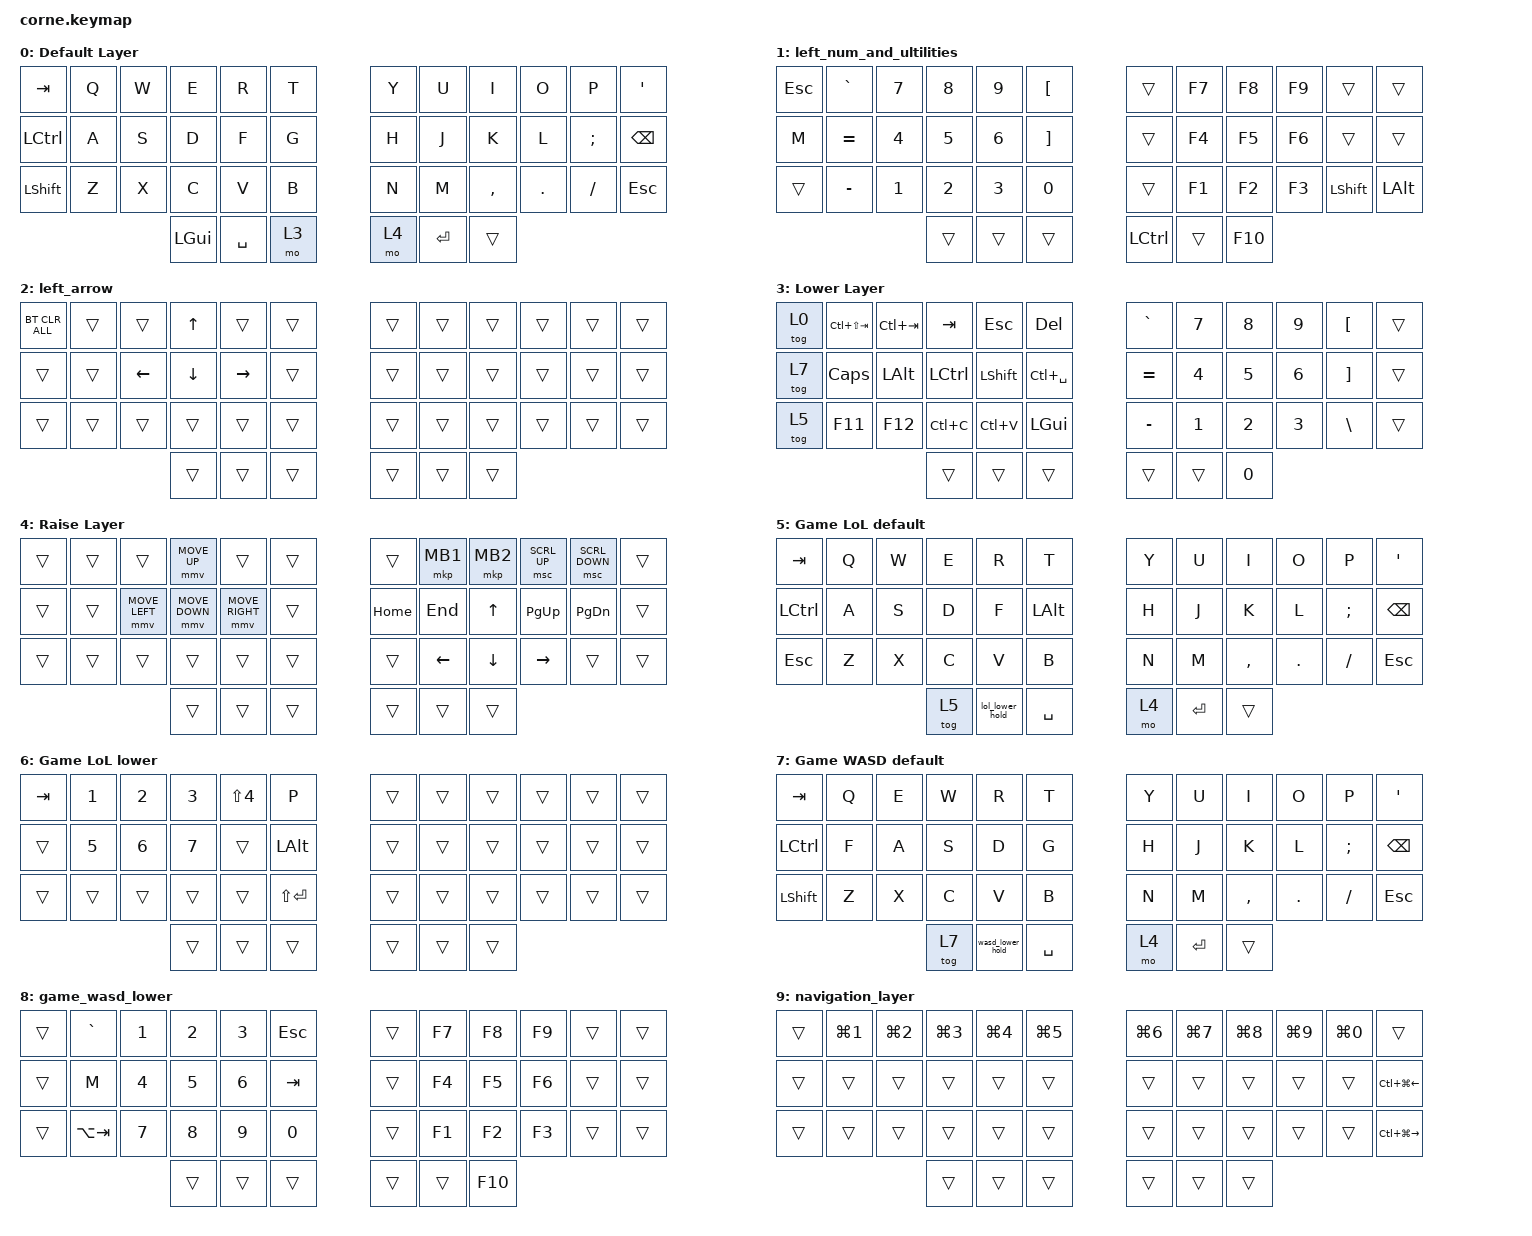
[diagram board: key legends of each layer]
/*
 * Copyright (c) 2020 The ZMK Contributors
 *
 * SPDX-License-Identifier: MIT
 */

#include <behaviors.dtsi>
#include <dt-bindings/zmk/bt.h>
#include <dt-bindings/zmk/keys.h>
#include <dt-bindings/zmk/pointing.h>

/ {
    combos {
        compatible = "zmk,combos";

        Lshift {
            bindings = <&kp LEFT_SHIFT>;
            key-positions = <16 38>;
            layers = <0 5 7>;
        };

        Rshift {
            bindings = <&kp RIGHT_SHIFT>;
            key-positions = <39 19>;
            layers = <0 6>;
        };

        Lctrl {
            bindings = <&kp LCTRL>;
            key-positions = <38 15>;
            layers = <0 5>;
        };

        Rctrl {
            bindings = <&kp RCTRL>;
            key-positions = <39 20>;
            layers = <0 6>;
        };

        Lalt {
            bindings = <&kp LEFT_ALT>;
            key-positions = <38 14>;
            layers = <0 7 5>;
        };

        Ralt {
            bindings = <&kp RIGHT_ALT>;
            key-positions = <39 21>;
            layers = <0 6>;
        };

        left_num_layer {
            bindings = <&mo 1>;
            key-positions = <38 24>;
            slow-release;
        };

        left_arrow_layer {
            bindings = <&mo 2>;
            key-positions = <38 12>;
            slow-release;
            layers = <0 7 5>;
        };
    };

    behaviors {
        td_kp1_f1: TD_1 {
            compatible = "zmk,behavior-tap-dance";
            label = "TD_1";
            #binding-cells = <0>;
            bindings = <&kp NUMBER_1>, <&kp F1>;
        };

        td_kp2_f2: TD_2 {
            compatible = "zmk,behavior-tap-dance";
            label = "TD_2";
            #binding-cells = <0>;
            bindings = <&kp NUMBER_2>, <&kp F2>;
        };

        td_kp3_f3: TD_3 {
            compatible = "zmk,behavior-tap-dance";
            label = "TD_3";
            #binding-cells = <0>;
            bindings = <&kp NUMBER_3>, <&kp F3>;
        };

        td_kp4_f4: TD_4 {
            compatible = "zmk,behavior-tap-dance";
            label = "TD_4";
            #binding-cells = <0>;
            bindings = <&kp NUMBER_4>, <&kp F4>;
        };

        td_kp5_f5: TD_5 {
            compatible = "zmk,behavior-tap-dance";
            label = "TD_5";
            #binding-cells = <0>;
            bindings = <&kp NUMBER_5>, <&kp F5>;
        };

        td_kp6_f6: TD_6 {
            compatible = "zmk,behavior-tap-dance";
            label = "TD_6";
            #binding-cells = <0>;
            bindings = <&kp NUMBER_6>, <&kp F6>;
        };

        td_kp7_f7: TD_7 {
            compatible = "zmk,behavior-tap-dance";
            label = "TD_7";
            #binding-cells = <0>;
            bindings = <&kp NUMBER_7>, <&kp F7>;
        };

        td_kp8_f8: TD_8 {
            compatible = "zmk,behavior-tap-dance";
            label = "TD_8";
            #binding-cells = <0>;
            bindings = <&kp NUMBER_8>, <&kp F8>;
        };

        td_kp9_f9: TD_9 {
            compatible = "zmk,behavior-tap-dance";
            label = "TD_9";
            #binding-cells = <0>;
            bindings = <&kp NUMBER_9>, <&kp F9>;
        };

        td_kp0_f0: TD_0 {
            compatible = "zmk,behavior-tap-dance";
            label = "TD_0";
            #binding-cells = <0>;
            bindings = <&kp NUMBER_0>, <&kp F10>;
        };
    };

    macros {
        lol_lower_hold: lol_lower_hold {
            compatible = "zmk,behavior-macro";
            #binding-cells = <0>;
            bindings =
                <&macro_tap>,
                <&tog 5>,
                <&macro_wait_time 10>,
                <&macro_press>,
                <&mo 6>,
                <&macro_pause_for_release>,
                <&macro_release>,
                <&mo 6>,
                <&macro_wait_time 10>,
                <&macro_tap>,
                <&tog 5>;

            label = "lol_lower_hold";
            wait-ms = <0>;
            tap-ms = <0>;
        };

        wasd_lower_hold: wasd_ {
            compatible = "zmk,behavior-macro";
            #binding-cells = <0>;
            bindings =
                <&macro_tap>,
                <&tog 7>,
                <&macro_wait_time 10>,
                <&macro_press>,
                <&mo 8>,
                <&macro_pause_for_release>,
                <&macro_release>,
                <&mo 8>,
                <&macro_wait_time 10>,
                <&macro_tap>,
                <&tog 7>;

            label = "WASD_";
            wait-ms = <0>;
            tap-ms = <0>;
        };
    };

    keymap {
        compatible = "zmk,keymap";

        default_layer {
            display-name = "Default Layer";

            // -----------------------------------------------------------------------------------------
            // |  TAB |  Q  |  W  |  E  |  R  |  T  |   |  Y  |  U   |  I  |  O  |  P  | BSPC |
            // | CTRL |  A  |  S  |  D  |  F  |  G  |   |  H  |  J   |  K  |  L  |  ;  |  '   |
            // | SHFT |  Z  |  X  |  C  |  V  |  B  |   |  N  |  M   |  ,  |  .  |  /  | ESC  |
            //                    | GUI | LWR | SPC |   | ENT | RSE  | ALT |

            bindings = <
&kp TAB    &kp Q  &kp W  &kp E     &kp R      &kp T    &kp Y  &kp U      &kp I      &kp O    &kp P     &kp SQT
&kp LCTRL  &kp A  &kp S  &kp D     &kp F      &kp G    &kp H  &kp J      &kp K      &kp L    &kp SEMI  &kp BACKSPACE
&kp LSHFT  &kp Z  &kp X  &kp C     &kp V      &kp B    &kp N  &kp M      &kp COMMA  &kp DOT  &kp FSLH  &kp ESC
                         &kp LGUI  &kp SPACE  &mo 3    &mo 4  &kp ENTER  &trans
            >;
        };

        left_num_and_ultilities {
            bindings = <
&kp ESCAPE  &kp GRAVE  &kp N7  &kp N8  &kp N9  &kp LBKT    &trans     &kp F7  &kp F8   &kp F9  &trans          &trans
&kp M       &kp EQUAL  &kp N4  &kp N5  &kp N6  &kp RBKT    &trans     &kp F4  &kp F5   &kp F6  &trans          &trans
&trans      &kp MINUS  &kp N1  &kp N2  &kp N3  &kp N0      &trans     &kp F1  &kp F2   &kp F3  &kp LEFT_SHIFT  &kp LEFT_ALT
                               &trans  &trans  &trans      &kp LCTRL  &trans  &kp F10
            >;
        };

        left_arrow {
            bindings = <
&bt BT_CLR_ALL  &trans  &trans    &kp UP    &trans     &trans    &trans  &trans  &trans  &trans  &trans  &trans
&trans          &trans  &kp LEFT  &kp DOWN  &kp RIGHT  &trans    &trans  &trans  &trans  &trans  &trans  &trans
&trans          &trans  &trans    &trans    &trans     &trans    &trans  &trans  &trans  &trans  &trans  &trans
                                  &trans    &trans     &trans    &trans  &trans  &trans
            >;
        };

        lower_layer {
            bindings = <
&tog 0  &kp LC(LS(TAB))  &kp LC(TAB)  &kp TAB    &kp ESC    &kp DEL          &kp GRAVE  &kp N7  &kp N8  &kp N9  &kp LBKT  &trans
&tog 7  &kp CAPS         &kp LALT     &kp LCTRL  &kp LSHFT  &kp LC(SPACE)    &kp EQUAL  &kp N4  &kp N5  &kp N6  &kp RBKT  &trans
&tog 5  &kp F11          &kp F12      &kp LC(C)  &kp LC(V)  &kp LGUI         &kp MINUS  &kp N1  &kp N2  &kp N3  &kp BSLH  &trans
                                      &trans     &trans     &trans           &trans     &trans  &kp N0
            >;

            label = "Lower Layer";
        };

        raise_layer {
            display-name = "Raise Layer";

            // -----------------------------------------------------------------------------------------
            // |  TAB |  !  |  @  |  #  |  $  |  %  |   |  ^  |  &  |  *  |  (  |  )  | BSPC |
            // | CTRL |     |     |     |     |     |   |  -  |  =  |  [  |  ]  |  \  |  `   |
            // | SHFT |     |     |     |     |     |   |  _  |  +  |  {  |  }  | "|" |  ~   |
            //                    | GUI |     | SPC |   | ENT |     | ALT |

            bindings = <
&trans  &trans  &trans          &mmv MOVE_UP    &trans           &trans    &trans    &mkp MB1  &mkp MB2  &msc SCRL_UP  &msc SCRL_DOWN  &trans
&trans  &trans  &mmv MOVE_LEFT  &mmv MOVE_DOWN  &mmv MOVE_RIGHT  &trans    &kp HOME  &kp END   &kp UP    &kp PG_UP     &kp PG_DN       &trans
&trans  &trans  &trans          &trans          &trans           &trans    &trans    &kp LEFT  &kp DOWN  &kp RIGHT     &trans          &trans
                                &trans          &trans           &trans    &trans    &trans    &trans
            >;
        };

        game_lol_default {
            display-name = "Game LoL default";
            bindings = <
&kp TAB     &kp Q  &kp W  &kp E   &kp R            &kp T           &kp Y  &kp U      &kp I      &kp O    &kp P     &kp SQT
&kp LCTRL   &kp A  &kp S  &kp D   &kp F            &kp LEFT_ALT    &kp H  &kp J      &kp K      &kp L    &kp SEMI  &kp BACKSPACE
&kp ESCAPE  &kp Z  &kp X  &kp C   &kp V            &kp B           &kp N  &kp M      &kp COMMA  &kp DOT  &kp FSLH  &kp ESC
                          &tog 5  &lol_lower_hold  &kp SPACE       &mo 4  &kp ENTER  &trans
            >;
        };

        game_lol_lower {
            display-name = "Game LoL lower";

            // -----------------------------------------------------------------------------------------
            // |  TAB |  1  |  2  |  3  |  4  |  5  |   |  6  |  7  |  8  |  9  |  0  | BSPC |
            // | BTCLR| BT1 | BT2 | BT3 | BT4 | BT5 |   | LFT | DWN |  UP | RGT |     |      |
            // | SHFT |     |     |     |     |     |   |     |     |     |     |     |      |
            //                    | GUI |     | SPC |   | ENT |     | ALT |

            bindings = <
&kp TAB  &kp N1  &kp N2  &kp N3  &kp LS(N4)  &kp P            &trans  &trans  &trans  &trans  &trans  &trans
&trans   &kp N5  &kp N6  &kp N7  &trans      &kp LEFT_ALT     &trans  &trans  &trans  &trans  &trans  &trans
&trans   &trans  &trans  &trans  &trans      &kp LS(ENTER)    &trans  &trans  &trans  &trans  &trans  &trans
                         &trans  &trans      &trans           &trans  &trans  &trans
            >;
        };

        game_wasd_default {
            display-name = "Game WASD default";
            bindings = <
&kp TAB         &kp Q  &kp E  &kp W   &kp R             &kp T        &kp Y  &kp U      &kp I      &kp O    &kp P     &kp SQT
&kp LCTRL       &kp F  &kp A  &kp S   &kp D             &kp G        &kp H  &kp J      &kp K      &kp L    &kp SEMI  &kp BACKSPACE
&kp LEFT_SHIFT  &kp Z  &kp X  &kp C   &kp V             &kp B        &kp N  &kp M      &kp COMMA  &kp DOT  &kp FSLH  &kp ESC
                              &tog 7  &wasd_lower_hold  &kp SPACE    &mo 4  &kp ENTER  &trans
            >;
        };

        game_wasd_lower {
            bindings = <
&trans  &kp GRAVE    &kp N1  &kp N2  &kp N3  &kp ESCAPE    &trans  &kp F7  &kp F8   &kp F9  &trans  &trans
&trans  &kp M        &kp N4  &kp N5  &kp N6  &kp TAB       &trans  &kp F4  &kp F5   &kp F6  &trans  &trans
&trans  &kp LA(TAB)  &kp N7  &kp N8  &kp N9  &kp N0        &trans  &kp F1  &kp F2   &kp F3  &trans  &trans
                             &trans  &trans  &trans        &trans  &trans  &kp F10
            >;

            label = "game_wasd_lower";
        };

        navigation_layer {
            bindings = <
&trans  &kp LG(N1)  &kp LG(N2)  &kp LG(N3)  &kp LG(N4)  &kp LG(N5)    &kp LG(N6)  &kp LG(N7)  &kp LG(N8)  &kp LG(N9)  &kp LG(N0)  &trans
&trans  &trans      &trans      &trans      &trans      &trans        &trans      &trans      &trans      &trans      &trans      &kp LC(LG(LEFT))
&trans  &trans      &trans      &trans      &trans      &trans        &trans      &trans      &trans      &trans      &trans      &kp LC(LG(RIGHT))
                                &trans      &trans      &trans        &trans      &trans      &trans
            >;
        };
    };

    conditional_layers {
        compatible = "zmk,conditional-layers";

        layer3 {
            if-layers = <3 4>;
            then-layer = <9>;
        };
    };
};
